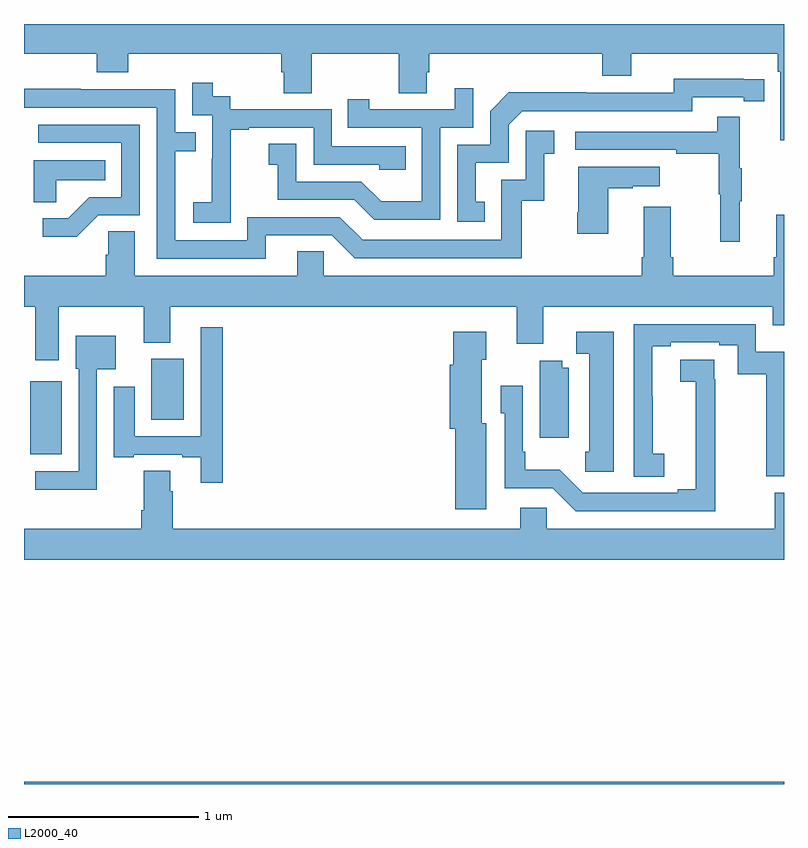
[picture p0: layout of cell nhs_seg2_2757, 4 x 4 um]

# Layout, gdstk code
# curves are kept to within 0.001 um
import gdstk
lib = gdstk.Library(unit=1e-6, precision=1e-09)
def R(c, l, rs):  # rectangles x0, y0, x1, y1
    for r in rs: c.add(gdstk.rectangle(r[:2], r[2:], *l))
def P(c, l, *ps):  # polygons
    for p in ps: c.add(gdstk.Polygon(p, *l))
L2000_40 = (2000, 40)

nhs_seg2_2757 = lib.new_cell('nhs_seg2_2757')
R(nhs_seg2_2757, L2000_40, [(255,635.8,259,635.812), (255.032,637.535,255.199,637.921), (255.671,637.718,255.841,638.038)])
P(nhs_seg2_2757, L2000_40, [(259,639.8),(255,639.8),(255,639.644),(255.383,639.644),(255.383,639.545),(255.548,639.545),(255.548,639.644),(256.355,639.644),(256.355,639.546),(256.367,639.546),(256.367,639.436),(256.515,639.436),(256.515,639.644),(256.972,639.644),(256.972,639.436),(257.119,639.436),(257.119,639.546),(257.132,639.546),(257.132,639.644),(258.044,639.644),(258.044,639.527),(258.196,639.527),(258.196,639.644),(258.968,639.644),(258.968,639.548),(258.981,639.548),(258.981,639.189),(259,639.189)],
  [(257.426,638.865),(257.377,638.865),(257.377,639.069),(257.55,639.069),(257.55,639.27),(257.622,639.342),(258.516,639.342),(258.516,639.414),(258.788,639.414),(258.788,639.394),(258.896,639.394),(258.896,639.51),(258.42,639.511),(258.42,639.438),(257.96,639.438),(257.96,639.44),(257.552,639.44),(257.454,639.342),(257.454,639.165),(257.28,639.165),(257.28,638.76),(257.426,638.76)],
  [(256.089,638.959),(256.088,638.959),(256.088,639.243),(256.183,639.243),(256.183,639.255),(256.524,639.255),(256.524,639.06),(256.869,639.06),(256.869,639.033),(257.009,639.033),(257.009,639.156),(256.62,639.156),(256.62,639.351),(256.086,639.351),(256.086,639.42),(255.994,639.42),(255.994,639.49),(255.885,639.49),(255.885,639.321),(255.99,639.321),(255.99,639.092),(255.989,639.092),(255.989,638.863),(255.891,638.863),(255.891,638.753),(256.089,638.753)],
  [(257.19,639.255),(257.364,639.255),(257.364,639.463),(257.267,639.463),(257.267,639.351),(256.816,639.351),(256.816,639.403),(256.705,639.403),(256.705,639.255),(257.094,639.255),(257.094,638.866),(256.88,638.866),(256.776,638.97),(256.434,638.97),(256.434,639.169),(256.287,639.169),(256.287,639.059),(256.336,639.059),(256.336,638.874),(256.739,638.874),(256.844,638.769),(257.19,638.769)],
  [(256.273,638.688),(256.62,638.688),(256.74,638.568),(257.62,638.568),(257.62,638.871),(257.738,638.871),(257.738,639.117),(257.791,639.117),(257.791,639.238),(257.64,639.238),(257.64,638.979),(257.511,638.979),(257.511,638.664),(256.782,638.664),(256.662,638.784),(256.176,638.784),(256.176,638.661),(255.795,638.661),(255.795,639.13),(255.905,639.13),(255.905,639.231),(255.795,639.231),(255.795,639.456),(255.299,639.456),(255.299,639.458),(255,639.458),(255,639.36),(255.699,639.36),(255.699,638.565),(256.273,638.565)],
  [(258.767,638.867),(258.778,638.867),(258.778,639.041),(258.767,639.041),(258.767,639.313),(258.649,639.313),(258.649,639.234),(257.901,639.234),(257.901,639.138),(258.433,639.138),(258.433,639.118),(258.657,639.118),(258.657,638.904),(258.664,638.904),(258.664,638.655),(258.767,638.655)],
  [(255.39,638.793),(255.609,638.793),(255.609,639.27),(255.075,639.27),(255.075,639.174),(255.513,639.174),(255.513,638.889),(255.344,638.889),(255.233,638.778),(255.099,638.778),(255.099,638.681),(255.277,638.681)],
  [(255.171,638.978),(255.428,638.978),(255.428,639.082),(255.05,639.082),(255.05,638.863),(255.171,638.863)],
  [(258.076,638.935),(258.203,638.935),(258.203,638.945),(258.346,638.945),(258.346,639.049),(257.918,639.049),(257.918,638.809),(257.911,638.809),(257.911,638.697),(258.076,638.697)],
  [(255.184,638.312),(255.629,638.312),(255.629,638.123),(255.769,638.123),(255.769,638.312),(257.594,638.312),(257.594,638.118),(257.734,638.118),(257.734,638.312),(258.941,638.312),(258.941,638.214),(259,638.214),(259,638.797),(258.959,638.797),(258.959,638.572),(258.947,638.572),(258.947,638.476),(258.416,638.476),(258.416,638.572),(258.403,638.572),(258.403,638.839),(258.263,638.839),(258.263,638.572),(258.251,638.572),(258.251,638.476),(256.578,638.476),(256.578,638.603),(256.439,638.603),(256.439,638.476),(255.583,638.476),(255.583,638.708),(255.444,638.708),(255.444,638.585),(255.431,638.585),(255.431,638.476),(255,638.476),(255,638.312),(255.059,638.312),(255.059,638.031),(255.184,638.031)],
  [(258.37,637.537),(258.309,637.537),(258.309,637.841),(258.307,637.841),(258.307,638.104),(258.403,638.104),(258.403,638.124),(258.659,638.124),(258.659,638.11),(258.756,638.11),(258.756,637.957),(258.907,637.957),(258.907,637.419),(259,637.419),(259,638.074),(258.852,638.074),(258.852,638.22),(258.21,638.22),(258.21,637.417),(258.37,637.417)],
  [(256.046,638.203),(255.93,638.203),(255.93,637.629),(255.583,637.629),(255.583,637.891),(255.473,637.891),(255.473,637.521),(255.577,637.521),(255.577,637.533),(255.833,637.533),(255.833,637.521),(255.929,637.521),(255.929,637.386),(256.046,637.386)],
  [(257.434,637.698),(257.41,637.698),(257.41,638.034),(257.434,638.034),(257.434,638.179),(257.258,638.179),(257.258,638.007),(257.24,638.007),(257.24,637.671),(257.27,637.671),(257.27,637.245),(257.434,637.245)],
  [(258.103,638.179),(257.907,638.179),(257.907,638.064),(257.975,638.064),(257.975,637.548),(257.953,637.548),(257.953,637.443),(258.103,637.443)],
  [(255.384,637.982),(255.484,637.982),(255.484,638.158),(255.272,638.158),(255.272,637.986),(255.288,637.986),(255.288,637.446),(255.06,637.446),(255.06,637.349),(255.384,637.349)],
  [(258.638,637.931),(258.632,637.931),(258.632,638.033),(258.453,638.033),(258.453,637.918),(258.535,637.918),(258.536,637.352),(258.44,637.352),(258.44,637.332),(257.94,637.332),(257.819,637.453),(257.638,637.453),(257.638,637.549),(257.625,637.549),(257.625,637.897),(257.508,637.897),(257.508,637.752),(257.529,637.752),(257.529,637.356),(257.784,637.356),(257.904,637.236),(258.638,637.236)],
  [(257.866,637.99),(257.834,637.99),(257.834,638.027),(257.714,638.027),(257.714,637.623),(257.866,637.623)],
  [(259,637.334),(258.952,637.334),(258.952,637.144),(257.751,637.144),(257.751,637.254),(257.612,637.254),(257.612,637.144),(255.782,637.144),(255.782,637.34),(255.769,637.34),(255.769,637.448),(255.629,637.448),(255.629,637.24),(255.617,637.24),(255.617,637.144),(255,637.144),(255,636.98),(259,636.98)])

lib.write_gds('nhs_seg2_2757.gds')
